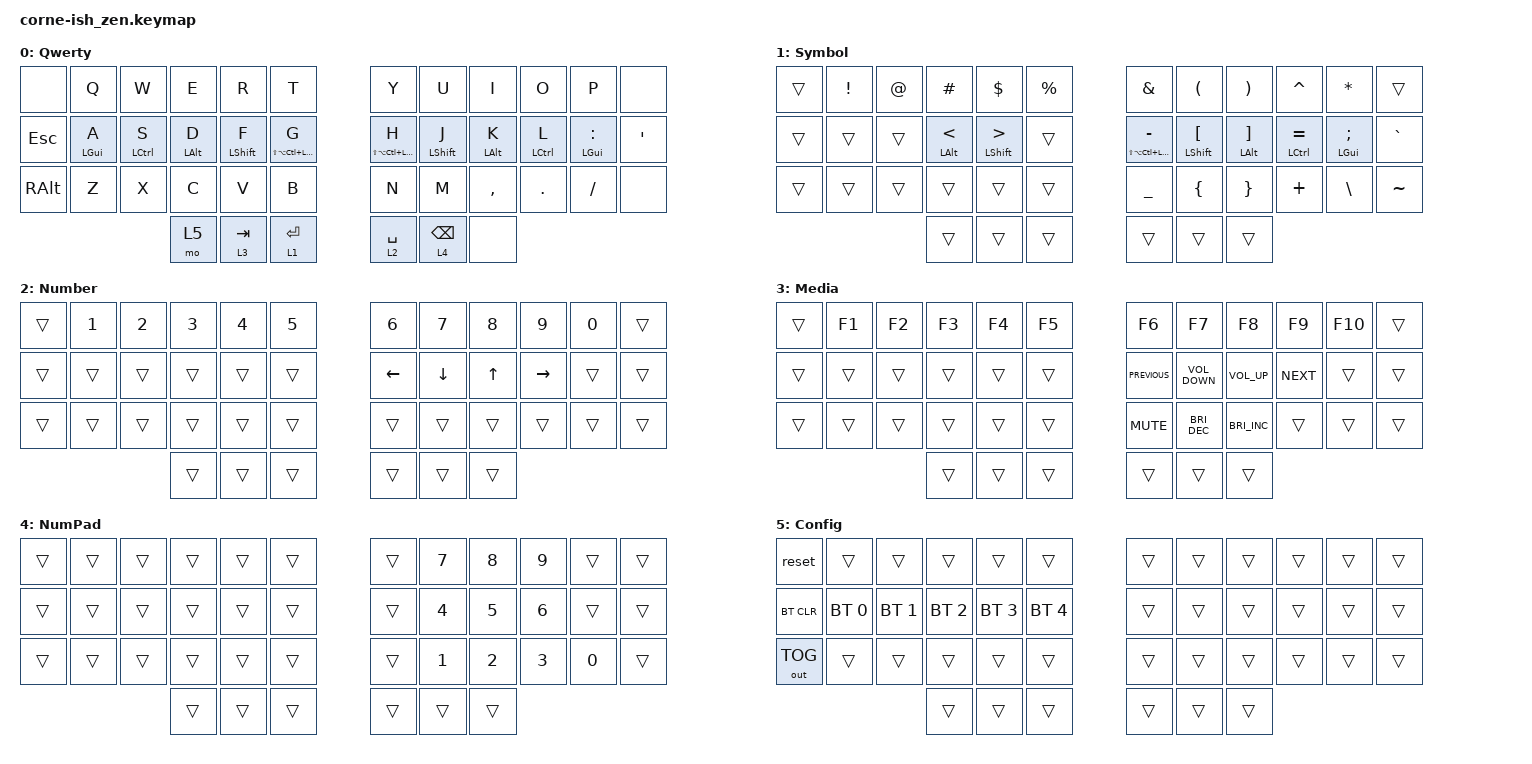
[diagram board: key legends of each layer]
/*
*
* Copyright (c) 2021 Darryl deHaan
* SPDX-License-Identifier: MIT
*
*/

#include <behaviors.dtsi>
#include <dt-bindings/zmk/bt.h>
#include <dt-bindings/zmk/keys.h>
#include <dt-bindings/zmk/outputs.h>

&mt { tapping-term-ms = <220>; };

/ {
    chosen {
        zmk,matrix_transform = &default_transform;

        //zmk,matrix_transform = &five_column_transform;
    };
};

/ {
    keymap {
        compatible = "zmk,keymap";

        default_layer {
            label = "Qwerty";
            bindings = <
&none          &kp Q           &kp W        &kp E           &kp R             &kp T                         &kp Y                       &kp U             &kp I           &kp O        &kp P               &none
&kp ESCAPE     &mt LEFT_GUI A  &mt LCTRL S  &mt LEFT_ALT D  &mt LEFT_SHIFT F  &mt LS(LA(LC(LEFT_GUI))) G    &mt LS(LA(LC(LEFT_GUI))) H  &mt LEFT_SHIFT J  &mt LEFT_ALT K  &mt LCTRL L  &mt LEFT_GUI COLON  &kp SQT
&kp RIGHT_ALT  &kp Z           &kp X        &kp C           &kp V             &kp B                         &kp N                       &kp M             &kp COMMA       &kp DOT      &kp FSLH            &none
                                            &mo 5           &lt 3 TAB         &lt 1 ENTER                   &lt 2 SPACE                 &lt 4 BACKSPACE   &none
            >;
        };

        symbol_layer {
            label = "Symbol";
            bindings = <
&trans  &kp EXCL  &kp AT  &kp HASH                &kp DLLR                     &kp PRCNT    &kp AMPERSAND                   &kp LPAR                     &kp RPAR                    &kp CARET        &kp ASTERISK            &trans
&trans  &trans    &trans  &mt LEFT_ALT LESS_THAN  &mt LEFT_SHIFT GREATER_THAN  &trans       &mt LS(LA(LC(LEFT_GUI))) MINUS  &mt LEFT_SHIFT LEFT_BRACKET  &mt LEFT_ALT RIGHT_BRACKET  &mt LCTRL EQUAL  &mt LEFT_GUI SEMICOLON  &kp GRAVE
&trans  &trans    &trans  &trans                  &trans                       &trans       &kp UNDER                       &kp LBRC                     &kp RBRC                    &kp PLUS         &kp BSLH                &kp TILDE
                          &trans                  &trans                       &trans       &trans                          &trans                       &trans
            >;
        };

        number_layer {
            label = "Number";
            bindings = <
&trans  &kp N1  &kp N2  &kp N3  &kp N4  &kp N5    &kp N6    &kp N7    &kp N8  &kp N9     &kp N0  &trans
&trans  &trans  &trans  &trans  &trans  &trans    &kp LEFT  &kp DOWN  &kp UP  &kp RIGHT  &trans  &trans
&trans  &trans  &trans  &trans  &trans  &trans    &trans    &trans    &trans  &trans     &trans  &trans
                        &trans  &trans  &trans    &trans    &trans    &trans
            >;
        };

        media_layer {
            bindings = <
&trans  &kp F1  &kp F2  &kp F3  &kp F4  &kp F5    &kp F6          &kp F7                &kp F8                &kp F9      &kp F10  &trans
&trans  &trans  &trans  &trans  &trans  &trans    &kp C_PREVIOUS  &kp C_VOLUME_DOWN     &kp C_VOLUME_UP       &kp C_NEXT  &trans   &trans
&trans  &trans  &trans  &trans  &trans  &trans    &kp C_MUTE      &kp C_BRIGHTNESS_DEC  &kp C_BRIGHTNESS_INC  &trans      &trans   &trans
                        &trans  &trans  &trans    &trans          &trans                &trans
            >;

            label = "Media";
        };

        numpad_layer {
            bindings = <
&trans  &trans  &trans  &trans  &trans  &trans    &trans  &kp N7        &kp N8        &kp N9        &trans  &trans
&trans  &trans  &trans  &trans  &trans  &trans    &trans  &kp NUMBER_4  &kp N5        &kp NUMBER_6  &trans  &trans
&trans  &trans  &trans  &trans  &trans  &trans    &trans  &kp NUMBER_1  &kp NUMBER_2  &kp NUMBER_3  &kp N0  &trans
                        &trans  &trans  &trans    &trans  &trans        &trans
            >;

            label = "NumPad";
        };

        config_layer {
            label = "Config";
            bindings = <
&reset        &trans        &trans        &trans        &trans        &trans          &trans  &trans  &trans  &trans  &trans  &trans
&bt BT_CLR    &bt BT_SEL 0  &bt BT_SEL 1  &bt BT_SEL 2  &bt BT_SEL 3  &bt BT_SEL 4    &trans  &trans  &trans  &trans  &trans  &trans
&out OUT_TOG  &trans        &trans        &trans        &trans        &trans          &trans  &trans  &trans  &trans  &trans  &trans
                                        &trans        &trans        &trans          &trans  &trans  &trans
            >;
        };
    };
};
